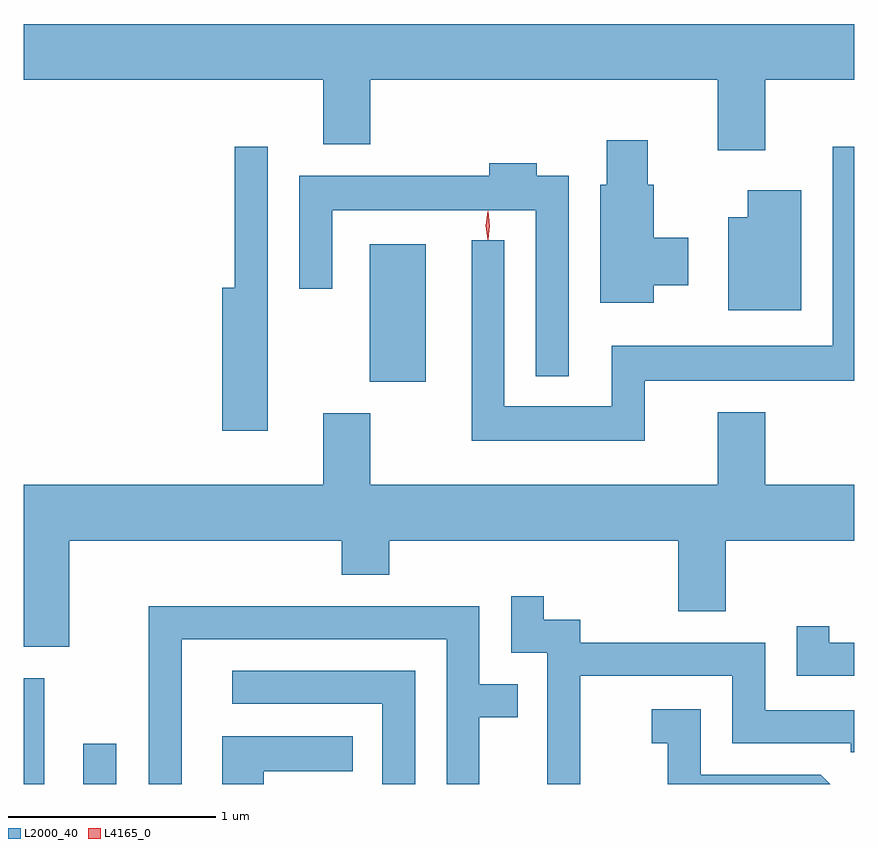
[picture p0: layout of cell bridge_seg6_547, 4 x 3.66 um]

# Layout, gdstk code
import gdstk
lib = gdstk.Library(unit=1e-6, precision=1e-09)
def R(c, l, rs):  # rectangles x0, y0, x1, y1
    for r in rs: c.add(gdstk.rectangle(r[:2], r[2:], *l))
def P(c, l, *ps):  # polygons
    for p in ps: c.add(gdstk.Polygon(p, *l))
L2000_40 = (2000, 40)
L4165_0 = (4165, 0)

bridge_seg6_547 = lib.new_cell('bridge_seg6_547')
R(bridge_seg6_547, L2000_40, [(406.369,1646.544,406.469,1647.054), (406.656,1646.544,406.814,1646.738), (408.036,1648.481,408.304,1649.144)])
P(bridge_seg6_547, L2000_40, [(409.939,1649.936),(410.369,1649.936),(410.369,1650.204),(406.369,1650.204),(406.369,1649.936),(407.811,1649.936),(407.811,1649.626),(408.039,1649.626),(408.039,1649.936),(409.711,1649.936),(409.711,1649.596),(409.939,1649.596)],
  [(409.404,1648.946),(409.569,1648.946),(409.569,1649.174),(409.404,1649.174),(409.404,1649.429),(409.374,1649.429),(409.374,1649.644),(409.176,1649.644),(409.176,1649.429),(409.146,1649.429),(409.146,1648.861),(409.404,1648.861)],
  [(409.359,1648.486),(410.369,1648.486),(410.369,1649.613),(410.266,1649.613),(410.266,1648.654),(409.201,1648.654),(409.201,1648.364),(408.684,1648.364),(408.684,1649.163),(408.526,1649.163),(408.526,1648.196),(409.359,1648.196)],
  [(407.544,1649.613),(407.386,1649.613),(407.386,1648.934),(407.326,1648.934),(407.326,1648.246),(407.544,1648.246)],
  [(408.994,1649.474),(408.839,1649.474),(408.839,1649.534),(408.611,1649.534),(408.611,1649.474),(407.696,1649.474),(407.696,1648.928),(407.854,1648.928),(407.854,1649.306),(408.836,1649.306),(408.836,1648.508),(408.994,1648.508)],
  [(410.114,1649.404),(409.856,1649.404),(409.856,1649.274),(409.761,1649.274),(409.761,1648.826),(410.114,1648.826)],
  [(406.589,1647.716),(407.901,1647.716),(407.901,1647.551),(408.129,1647.551),(408.129,1647.716),(409.521,1647.716),(409.521,1647.376),(409.749,1647.376),(409.749,1647.716),(410.369,1647.716),(410.369,1647.984),(409.939,1647.984),(409.939,1648.334),(409.711,1648.334),(409.711,1647.984),(408.039,1647.984),(408.039,1648.329),(407.811,1648.329),(407.811,1647.984),(406.369,1647.984),(406.369,1647.206),(406.589,1647.206)],
  [(409.049,1647.066),(409.781,1647.066),(409.781,1646.741),(410.351,1646.741),(410.351,1646.696),(410.369,1646.696),(410.369,1646.899),(409.939,1646.899),(409.939,1647.224),(409.049,1647.224),(409.049,1647.334),(408.874,1647.334),(408.874,1647.448),(408.716,1647.448),(408.716,1647.176),(408.891,1647.176),(408.891,1646.544),(409.049,1646.544)],
  [(407.129,1647.241),(408.406,1647.241),(408.406,1646.544),(408.564,1646.544),(408.564,1646.866),(408.748,1646.866),(408.748,1647.024),(408.564,1647.024),(408.564,1647.399),(406.971,1647.399),(406.971,1646.544),(407.129,1646.544)],
  [(410.369,1647.224),(410.249,1647.224),(410.249,1647.303),(410.091,1647.303),(410.091,1647.066),(410.369,1647.066)],
  [(408.254,1647.089),(407.373,1647.089),(407.373,1646.931),(408.096,1646.931),(408.096,1646.544),(408.254,1646.544)],
  [(410.207,1646.589),(409.629,1646.589),(409.629,1646.904),(409.393,1646.904),(409.393,1646.741),(409.471,1646.741),(409.471,1646.544),(410.252,1646.544)],
  [(407.524,1646.606),(407.953,1646.606),(407.953,1646.774),(407.326,1646.774),(407.326,1646.544),(407.524,1646.544)])
P(bridge_seg6_547, L4165_0, [(408.604,1649.164),(408.604,1649.164),(408.594,1649.233),(408.604,1649.302),(408.604,1649.303),(408.605,1649.302),(408.614,1649.233),(408.605,1649.164)])

lib.write_gds('bridge_seg6_547.gds')
